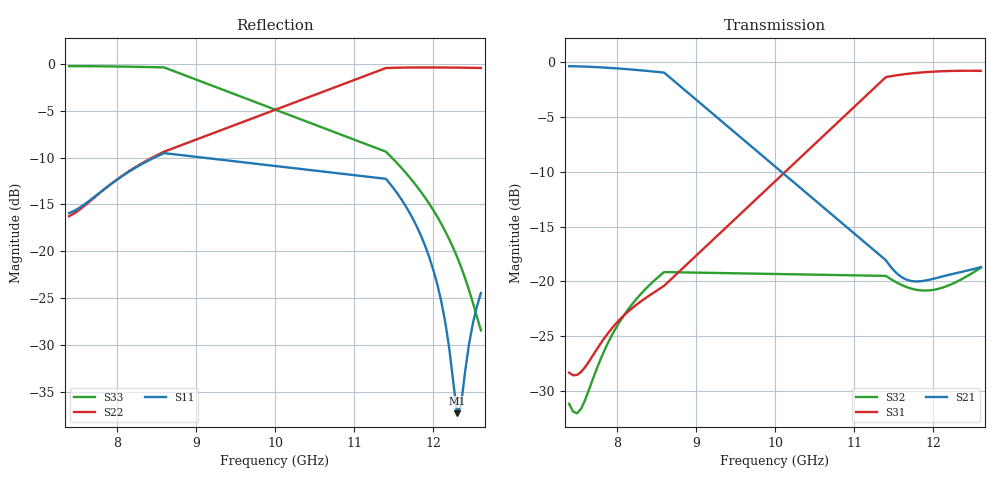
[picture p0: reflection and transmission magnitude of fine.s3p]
! yapnr rf: diplexer-x8x12, footprint re-simulated (refine 2)
! spec sha256 ef2c169852b7fa958bd1cfd29e224f501703003c4a9cb40ad4b62f1f70cdd8ac
! 3 ports renormalized to 50 ohm, e^(+jwt) convention
# GHz S RI R 50
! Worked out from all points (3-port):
!   50 points, 7.4 GHz to 12.6 GHz, reference 50 ohm
!   strongest paths, dB at 7.4 GHz, 8 GHz, 11.4 GHz, 12 GHz, 12.6 GHz:
!     S21: -0.4, -0.6, -18.1, -19.8, -18.7
!     S31: -28.3, -23.8, -1.4, -0.9, -0.8
!     S32: -31.2, -24.1, -19.5, -20.8, -18.8
!   lowest |S11| = -37.3 dB at 12.3 GHz (marker M1), VSWR 1.03, Z = 49.4 - j1.23 ohm
!   |S11| at or under -10 dB: start of sweep to 8.478 GHz; 9.086 GHz to end of sweep
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7.4  0.1595 -0.0111  0.1941 0.9363  0.0263 0.0386
     0.1963 0.9369  0.1442 -0.0536  -0.0234 0.0158
     0.0225 0.0311  -0.025 0.0117  0.424 -0.8757
7.55  0.1727 -0.000229  0.3234 0.8971  0.0138 0.0447
      0.3259 0.8969  0.1272 -0.1113  -0.00376 0.029
      0.00852 0.0376  -0.00538 0.0256  0.3252 -0.917
8.05  0.2466 -0.03  0.6783 0.6405  -0.00562 0.0697
      0.6802 0.6378  0.0106 -0.2492  0.0629 0.0237
      -0.0145 0.066  0.0628 0.0215  -0.00382 -0.9684
8.6  0.272 -0.1939  0.8719 0.2105  -0.0138 0.0909
     0.8705 0.2063  -0.1534 -0.3036  0.0974 -0.0439
     -0.0242 0.0923  0.0992 -0.0482  -0.3404 -0.8957
11.4  0.1989 0.1405  -0.072 -0.0942  0.8199 -0.1695
      -0.0756 -0.0993  -0.7009 0.6425  0.0406 0.0868
      0.8334 -0.1826  0.0462 0.0953  -0.2469 0.2339
11.75  0.1466 0.00187  -0.0256 -0.0935  0.7227 -0.4994
       -0.0325 -0.0946  -0.5388 0.7914  0.0782 0.0261
       0.7254 -0.5147  0.0876 0.0285  -0.1431 0.1848
12  0.0717 -0.0339  -0.011 -0.1036  0.5709 -0.6914
    -0.0182 -0.1011  -0.4101 0.8655  0.0786 -0.0216
    0.5669 -0.7038  0.0883 -0.0239  -0.0911 0.1382
12.15  0.0288 -0.0303  -0.00713 -0.1096  0.4554 -0.7808
       -0.0138 -0.1051  -0.3298 0.8983  0.0693 -0.048
       0.4486 -0.7901  0.0783 -0.0529  -0.0684 0.108
12.3  -0.0056 -0.0124  -0.00529 -0.115  0.3268 -0.8481
      -0.0109 -0.1087  -0.2479 0.923  0.0538 -0.0712
      0.3185 -0.8539  0.0616 -0.0785  -0.0515 0.0775
12.6  -0.0373 0.0467  -0.00307 -0.1244  0.0477 -0.9117
      -0.0057 -0.1159  -0.0808 0.9484  0.00802 -0.1039
      0.0397 -0.9104  0.0122 -0.1147  -0.0329 0.0185
